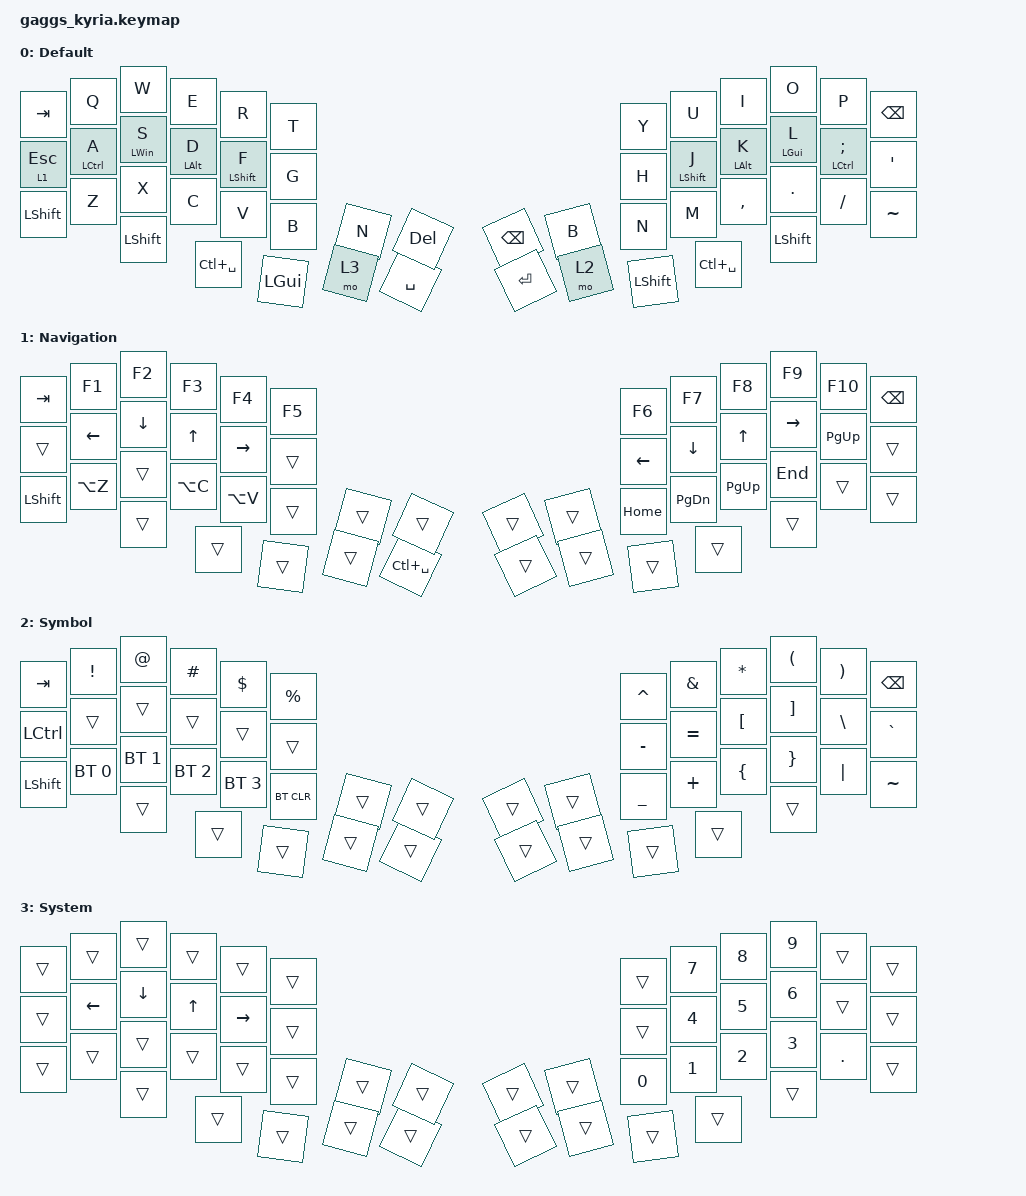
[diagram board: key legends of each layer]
/*
 * Copyright (c) 2020 The ZMK Contributors
 *
 * SPDX-License-Identifier: MIT
 */

#include <behaviors.dtsi>
#include <dt-bindings/zmk/bt.h>
#include <dt-bindings/zmk/keys.h>
#include <dt-bindings/zmk/keys.h>
#include <dt-bindings/zmk/pointing.h>




/ {
    behaviors {
        hmr: hmr {
            compatible = "zmk,behavior-hold-tap";
            label = "HMR";
            bindings = <&kp>, <&kp>;

            #binding-cells = <2>;
            tapping-term-ms = <175>;
            quick-tap-ms = <175>;
            require-prior-idle-ms = <125>;
            flavor = "balanced";
        };
        hmr_mo: hmr_mo {
            compatible = "zmk,behavior-hold-tap";
            label = "HMR_MO";
            bindings = <&mo>, <&kp>;

            #binding-cells = <2>;
            tapping-term-ms = <175>;
            require-prior-idle-ms = <75>;
            flavor = "hold-preferred";
        };
        hms: homerow_mods_shift {
            compatible = "zmk,behavior-hold-tap";
            #binding-cells = <2>;
            flavor = "balanced";          // tap-preferred 쓰지 말것
            tapping-term-ms = <175>;      // 기존 150에서 소폭 증가
            quick-tap-ms = <175>;
            require-prior-idle-ms = <100>; // 기존 80에서 소폭 증가
            hold-trigger-on-release;       // 기존 동작 유지
            bindings = <&kp>, <&kp>;
        };

        // Right-hand homerow mods restricted to left-hand trigger keys.
        // Hold only fires when a left-hand key is pressed simultaneously,
        // preventing mod activation during vim hjkl navigation and repeat keys.
        hmr_r: hmr_r {
            compatible = "zmk,behavior-hold-tap";
            label = "HMR_R";
            bindings = <&kp>, <&kp>;

            #binding-cells = <2>;
            tapping-term-ms = <300>;
            quick-tap-ms = <200>;
            require-prior-idle-ms = <250>;
            flavor = "tap-preferred";
            hold-trigger-key-positions = <0 1 2 3 4 5 12 13 14 15 16 17 24 25 26 27 28 29 30 38 39 40 41 42 43>;
        };
        mmv: mmv {
            acceleration-exponent = <1>;
            time-to-max-speed-ms = <1000>;
            delay-ms = <0>;
        };
        
        msc: msc {
            acceleration-exponent = <0>;
            time-to-max-speed-ms = <1000>;
            delay-ms = <0>;
        };

        th_lt: thumb_layer_tap {
            compatible = "zmk,behavior-hold-tap";
            #binding-cells = <2>;

            flavor = "balanced";

            tapping-term-ms = <200>;
            quick-tap-ms = <150>;

            bindings = <&mo>, <&kp>;
        };
    };

    keymap {
        compatible = "zmk,keymap";

        default_layer {
            display-name = "Default";
            // ┌────────┬──────┬─────────┬─────────┬───────────┬──────┐                    ┌──────┬───────────┬─────────┬─────────┬────────────┬────────┐
            // │  TAB   │  Q   │    W    │    E    │     R     │  T   │                    │  Y   │     U     │    I    │    O    │     P      │  BSPC  │
            // │ESC/NAV │CTRL/A│  WIN/S  │  ALT/D  │  SHIFT/F  │  G   │                    │  H   │  SHIFT/J  │  ALT/K  │  WIN/L  │  CTRL/;    │   '    │
            // │ LSHIFT │  Z   │    X    │    C    │     V     │  B   │  N  │         │ B  │  N   │     M     │    ,    │    .    │     /      │   ~    │
            //          │LSHIFT│LC(SPACE)│  LGUI   │   SYS/3   │SPACE │ DEL │         │BSPC│ RET  │  SYM/2    │  LALT   │LC(SPACE)│   LSHIFT   │
            bindings = <
&kp TAB        &kp Q         &kp W           &kp E           &kp R              &kp T                              &kp Y   &kp U              &kp I           &kp O           &kp P                  &kp BSPC
&hmr_mo 1 ESC  &hmr LCTRL A  &hmr LEFT_WIN S &hmr LEFT_ALT D &hms LEFT_SHIFT F  &kp G                              &kp H   &hms LEFT_SHIFT J  &hmr LEFT_ALT K &hmr LEFT_GUI L &hmr LEFT_CONTROL SEMI &kp SQT
&kp LSHIFT     &kp Z         &kp X           &kp C           &kp V              &kp B     &kp N         &kp B      &kp N   &kp M              &kp COMMA       &kp DOT         &kp FSLH               &kp TILDE
               &kp LSHIFT    &kp LC(SPACE)   &kp LGUI        &mo 3              &kp SPACE  &kp DEL   &kp BSPC      &kp RET &mo 2              &kp LSHIFT  &kp LC(SPACE)      &kp LSHIFT
            >;
        };

        nav_layer {
            display-name = "Navigation";
            // ┌────────┬────────┬────────┬────────┬────────┬────────┐                        ┌────────┬────────┬────────┬────────┬────────┬────────┐
            // │  TAB   │   F1   │   F2   │   F3   │   F4   │   F5   │                        │   F6   │   F7   │   F8   │   F9   │  F10   │  bspc  │
            // │ trans  │  LEFT  │  DOWN  │   UP   │ RIGHT  │ trans  │                        │  LEFT  │  DOWN  │   UP   │ RIGHT  │ PG_UP  │ trans  │
            // │ LSHFT  │ LA(Z)  │ trans  │ LA(C)  │ LA(V)  │ trans  │ trans  │      │ trans  │  HOME  │  PG_DN │ PG_UP  │  END   │ PG_DN  │ trans  │
            //          │ trans  │ trans  │ trans  │ trans  │ trans  │ trans  │      │ trans  │ trans  │ trans  │ trans  │ trans  │
            bindings = <
&kp TAB    &kp F1         &kp F2         &kp F3       &kp F4     &kp F5                       &kp F6    &kp F7        &kp F8      &kp F9    &kp F10       &kp BACKSPACE
&trans     &kp LEFT_ARROW &kp DOWN_ARROW &kp UP_ARROW &kp RIGHT  &trans                       &kp LEFT  &kp DOWN      &kp UP      &kp RIGHT &kp PAGE_UP   &trans
&kp LSHFT  &kp LA(Z)      &trans         &kp LA(C)    &kp LA(V)  &trans  &trans      &trans   &kp HOME  &kp PAGE_DOWN &kp PAGE_UP &kp END   &trans        &trans
           &trans         &trans         &trans       &trans     &kp LC(SPACE)  &trans      &trans   &trans    &trans        &trans    &trans    &trans
            >;
        };

        symbol_layer {
            display-name = "Symbol";
            // ┌────────┬────────┬────────┬────────┬────────┬────────┐                        ┌────────┬────────┬────────┬────────┬────────┬────────┐
            // │  TAB   │   !    │   @    │   #    │   $    │   %    │                        │   ^    │   &    │   *    │   (    │   )    │  BSPC  │
            // │ LCTRL  │ trans  │ trans  │ trans  │ trans  │ trans  │                        │   -    │   =    │   [    │   ]    │   \    │   `    │
            // │ LSHIFT │  BT0   │  BT1   │  BT2   │  BT3   │ BT_CLR │ trans  │      │ trans  │   _    │   +    │   {    │   }    │   |    │   ~    │
            //          │ trans  │ trans  │ trans  │ trans  │ trans  │ trans  │      │ trans  │ trans  │ trans  │ trans  │ trans  │
            bindings = <
&kp TAB    &kp EXCL      &kp AT        &kp HASH      &kp DLLR      &kp PRCNT                          &kp CARET &kp AMPS  &kp ASTRK       &kp LPAR  &kp RPAR &kp BSPC
&kp LCTRL  &trans        &trans        &trans        &trans        &trans                             &kp MINUS &kp EQUAL &kp LBKT        &kp RBKT  &kp BSLH &kp GRAVE
&kp LSHFT  &bt BT_SEL 0  &bt BT_SEL 1  &bt BT_SEL 2  &bt BT_SEL 3  &bt BT_CLR &trans      &trans    &kp UNDER &kp PLUS  &kp LBRC        &kp RBRC  &kp PIPE &kp TILDE
           &trans        &trans        &trans        &trans        &trans     &trans      &trans     &trans    &trans    &trans          &trans    &trans
            >;
        };

        system_layer {
            display-name = "System";
            // ┌────────┬────────┬────────┬────────┬────────┬────────┐                        ┌────────┬────────┬────────┬────────┬────────┬────────┐
            // │ trans  │ trans  │ trans  │ trans  │ trans  │ trans  │                        │ trans  │   7    │   8    │   9    │ trans  │ trans  │
            // │ trans  │  LEFT  │  DOWN  │   UP   │ RIGHT  │ trans  │                        │ trans  │   4    │   5    │   6    │ trans  │ trans  │
            // │ trans  │ trans  │ trans  │ trans  │ trans  │ trans  │ trans  │      │ trans  │   0    │   1    │   2    │   3    │  DOT   │ trans  │
            //          │ trans  │ trans  │ trans  │ trans  │ trans  │ trans  │      │ trans  │ trans  │ trans  │ trans  │ trans  │
            bindings = <
&trans  &trans    &trans    &trans       &trans     &trans                        &trans        &kp NUMBER_7 &kp NUMBER_8 &kp NUMBER_9 &trans   &trans
&trans  &kp LEFT  &kp DOWN  &kp UP_ARROW &kp RIGHT  &trans                        &trans        &kp NUMBER_4 &kp NUMBER_5 &kp NUMBER_6 &trans   &trans
&trans  &trans    &trans    &trans       &trans     &trans  &trans      &trans    &kp NUMBER_0  &kp N1       &kp N2       &kp N3       &kp DOT  &trans
        &trans    &trans    &trans       &trans     &trans  &trans      &trans    &trans        &trans       &trans       &trans       &trans
            >;
        };

    };
};
